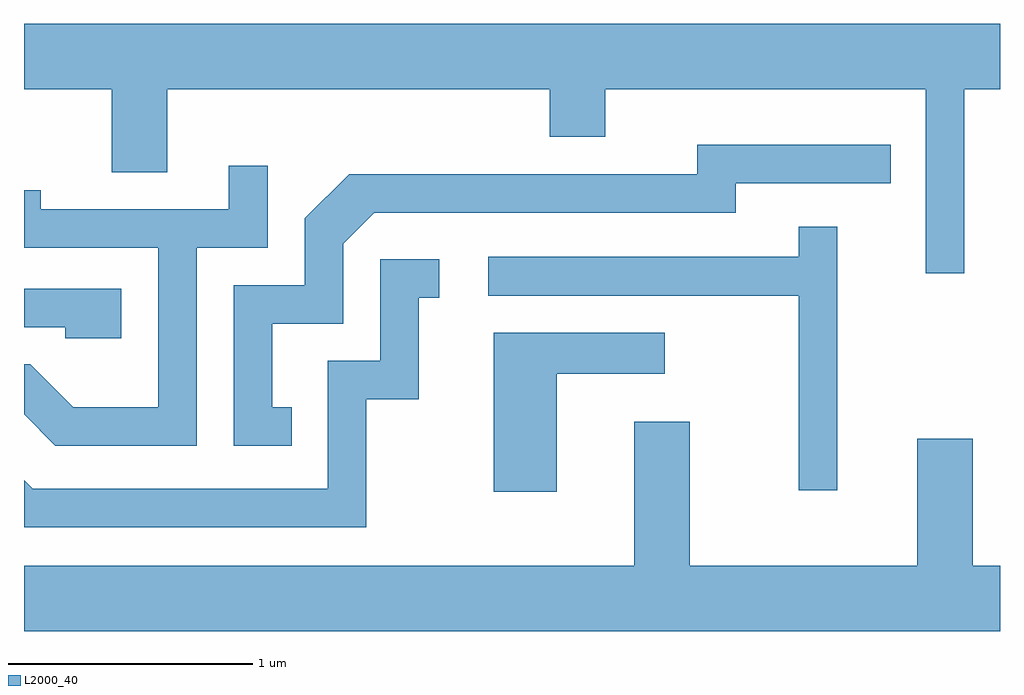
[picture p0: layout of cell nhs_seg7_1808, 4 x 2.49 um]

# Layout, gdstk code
import gdstk
lib = gdstk.Library(unit=1e-6, precision=1e-09)
def P(c, l, *ps):  # polygons
    for p in ps: c.add(gdstk.Polygon(p, *l))
L2000_40 = (2000, 40)

nhs_seg7_1808 = lib.new_cell('nhs_seg7_1808')
P(nhs_seg7_1808, L2000_40, [(243.464,1758.716),(243.611,1758.716),(243.611,1758.984),(239.611,1758.984),(239.611,1758.716),(239.971,1758.716),(239.971,1758.376),(240.199,1758.376),(240.199,1758.716),(241.766,1758.716),(241.766,1758.521),(241.994,1758.521),(241.994,1758.716),(243.306,1758.716),(243.306,1757.963),(243.464,1757.963)],
  [(240.708,1757.414),(240.629,1757.414),(240.629,1757.756),(240.919,1757.756),(240.919,1758.084),(241.047,1758.211),(242.529,1758.211),(242.529,1758.331),(243.163,1758.331),(243.163,1758.489),(242.371,1758.489),(242.371,1758.369),(240.944,1758.369),(240.761,1758.187),(240.761,1757.914),(240.471,1757.914),(240.471,1757.256),(240.708,1757.256)],
  [(240.319,1758.066),(240.609,1758.066),(240.609,1758.403),(240.451,1758.403),(240.451,1758.224),(239.679,1758.224),(239.679,1758.303),(239.611,1758.303),(239.611,1758.066),(240.161,1758.066),(240.161,1757.414),(239.812,1757.414),(239.637,1757.589),(239.611,1757.589),(239.611,1757.384),(239.739,1757.256),(240.319,1757.256)],
  [(242.944,1758.153),(242.786,1758.153),(242.786,1758.029),(241.513,1758.029),(241.513,1757.871),(242.786,1757.871),(242.786,1757.073),(242.944,1757.073)],
  [(241.014,1757.446),(241.229,1757.446),(241.229,1757.861),(241.313,1757.861),(241.313,1758.019),(241.071,1758.019),(241.071,1757.604),(240.856,1757.604),(240.856,1757.079),(239.647,1757.079),(239.611,1757.115),(239.611,1756.921),(241.014,1756.921)],
  [(240.009,1757.899),(239.611,1757.899),(239.611,1757.741),(239.781,1757.741),(239.781,1757.696),(240.009,1757.696)],
  [(241.794,1757.551),(242.238,1757.551),(242.238,1757.719),(241.536,1757.719),(241.536,1757.066),(241.794,1757.066)],
  [(243.611,1756.764),(243.499,1756.764),(243.499,1757.284),(243.271,1757.284),(243.271,1756.764),(242.339,1756.764),(242.339,1757.354),(242.111,1757.354),(242.111,1756.764),(239.611,1756.764),(239.611,1756.496),(243.611,1756.496)])

lib.write_gds('nhs_seg7_1808.gds')
